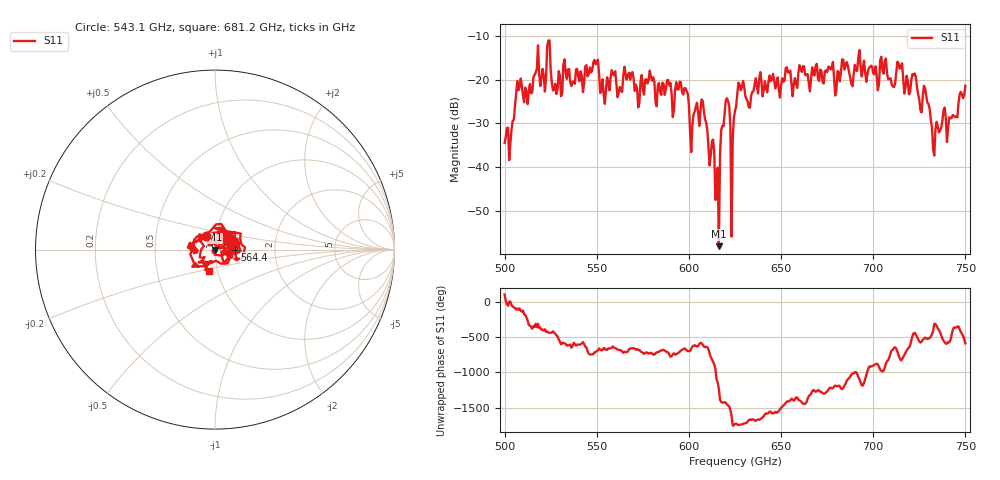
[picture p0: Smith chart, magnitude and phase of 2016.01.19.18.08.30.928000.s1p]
!Created with skrf (http://scikit-rf.org).
# GHz S RI R 50.0
!freq ReS11 ImS11
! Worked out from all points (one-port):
!   401 points, 500 GHz to 750 GHz, reference 50 ohm
!   lowest |S11| = -58.1 dB at 616.2 GHz (marker M1), VSWR 1.00, Z = 49.9 - j0.0457 ohm
!   |S11| at or under -10 dB: start of sweep to end of sweep
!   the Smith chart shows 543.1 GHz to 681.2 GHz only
!   S11 on the Smith chart (normalised r, x): 543.1 GHz: 0.89, +0.13; 564.4 GHz: 1.25, -0.00; 681.2 GHz: 0.91, -0.22
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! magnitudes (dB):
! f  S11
! 500 GHz  -34.5
! 503.8 GHz  -31.4
! 508.1 GHz  -21.7
! 523.8 GHz  -11.0
! 526.9 GHz  -22.3
! 531.2 GHz  -23.1
! 543.1 GHz  -20.9
! 549.4 GHz  -16.5
! 553.1 GHz  -19.9
! 562.5 GHz  -21.7
! 564.4 GHz  -19.2
! 593.8 GHz  -22.2
! 601.9 GHz  -30.4
! 608.1 GHz  -27.3
! 615 GHz  -41.7
! 616.2 GHz  -58.1
! 620 GHz  -24.7
! 623.8 GHz  -33.8
! 625 GHz  -27.2
! 628.1 GHz  -22.4
! 656.2 GHz  -23.8
! 681.2 GHz  -18.2
! 687.5 GHz  -19.5
! 714.4 GHz  -17.5
! 718.8 GHz  -20.3
! 728.8 GHz  -23.7
! 733.1 GHz  -37.4
! 750 GHz  -21.4
